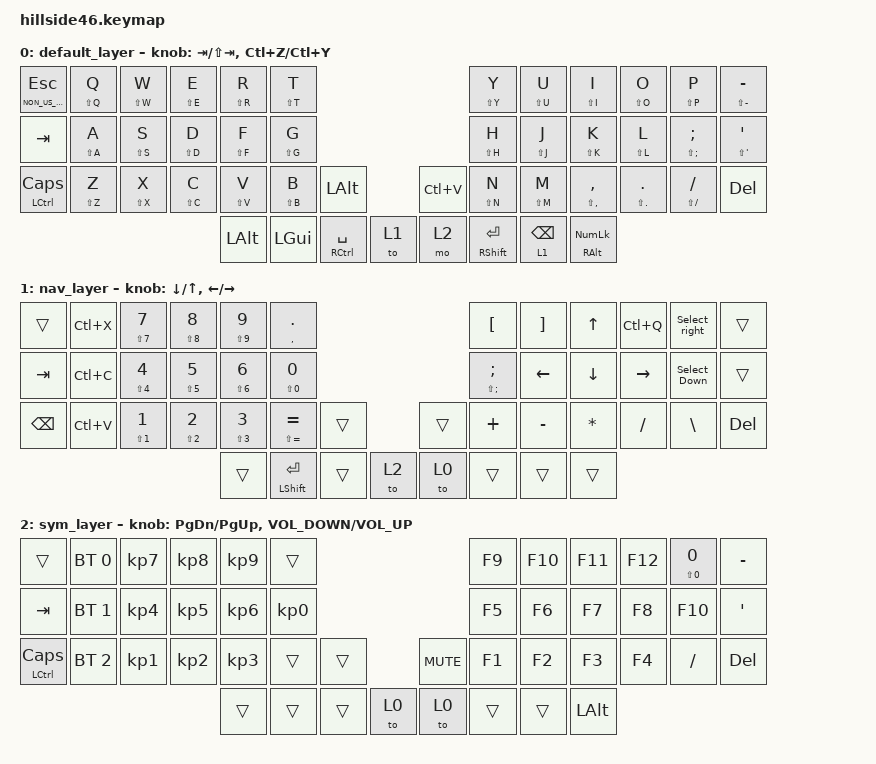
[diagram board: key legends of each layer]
/*
 * Copyright (c) 2021-2022 The ZMK Contributors
 * SPDX-License-Identifier: MIT
 */

#include <behaviors.dtsi>
#include <dt-bindings/zmk/bt.h>
#include <dt-bindings/zmk/keys.h>

#define QWERTY 0
#define NAV    1
#define SYM    2
#define COLE   3

/ {
    behaviors {
        /* * Auto-Shift Behavior 
         * Usage: &as LS(KEY) KEY
         * Tapping sends KEY. Holding (for 175ms) sends LS(KEY).
         */

        as: auto_shift {
            compatible = "zmk,behavior-hold-tap";
            label = "AUTO_SHIFT";
            #binding-cells = <2>;
            tapping-term-ms = <200>;
            quick-tap-ms = <0>;
            flavor = "tap-preferred";
            bindings = <&kp>, <&kp>;
        };

        /* Custom Layer Tap with Repeat for Backspace/Delete */

        lt_repeat: lt_repeat {
            compatible = "zmk,behavior-hold-tap";
            label = "LT_REPEAT";
            #binding-cells = <2>;
            tapping-term-ms = <200>;
            quick-tap-ms = <200>; // This is the key that enables the repeat
            flavor = "hold-preferred";
            bindings = <&mo>, <&kp>;
        };
    };

    macros {
        Select_right: Select_right {
            compatible = "zmk,behavior-macro";
            #binding-cells = <0>;
            bindings = <&kp LC(LS(RIGHT))>;
            label = "SELECT_RIGHT";
        };

        Select_Down: Select_Down {
            compatible = "zmk,behavior-macro";
            #binding-cells = <0>;
            bindings = <&kp LC(LS(DOWN))>;
            label = "SELECT_DOWN";
        };
    };

    combos {
        compatible = "zmk,combos";

        Plus {
            bindings = <&kp PLUS>;
            key-positions = <14 15>;
            layers = <1>;
        };

        Minus {
            bindings = <&kp MINUS>;
            key-positions = <15 16>;
            layers = <1>;
        };

        Multi {
            bindings = <&kp ASTRK>;
            key-positions = <26 27>;
            layers = <1>;
        };

        Divide {
            bindings = <&kp SLASH>;
            key-positions = <27 28>;
            layers = <1>;
        };

        Backsp {
            bindings = <&kp BACKSPACE>;
            key-positions = <3 4>;
            layers = <1>;
        };

        Properties {
            bindings = <&kp P>;
            key-positions = <4 5>;
            layers = <1>;
        };

        Normal_To {
            bindings = <&kp N>;
            key-positions = <16 17>;
            layers = <1>;
        };

        Measure {
            bindings = <&kp M>;
            key-positions = <28 29>;
            layers = <1>;
        };

        Delete {
            bindings = <&kp DELETE>;
            key-positions = <2 3>;
        };
    };

    keymap {
        compatible = "zmk,keymap";

        default_layer {
            /* Layer 0: QWERTY (Base)
             * Note: Inner bottom keys (Extra keys) set to Copy (Left) and Paste (Right)
             */

            bindings = <
&as NON_US_HASH ESC    &as LS(Q) Q  &as LS(W) W  &as LS(E) E  &as LS(R) R  &as LS(T) T                                                     &as LS(Y) Y        &as LS(U) U      &as LS(I) I          &as LS(O) O      &as LS(P) P         &as LS(MINUS) MINUS
&kp TAB                &as LS(A) A  &as LS(S) S  &as LS(D) D  &as LS(F) F  &as LS(G) G                                                     &as LS(H) H        &as LS(J) J      &as LS(K) K          &as LS(L) L      &as LS(SEMI) SEMI   &as LS(SQT) SQT
&mt LEFT_CONTROL CAPS  &as LS(Z) Z  &as LS(X) X  &as LS(C) C  &as LS(V) V  &as LS(B) B  &kp LALT                         &kp LC(V)         &as LS(N) N        &as LS(M) M      &as LS(COMMA) COMMA  &as LS(DOT) DOT  &as LS(FSLH) SLASH  &kp DEL
                                                              &kp LALT     &kp LGUI     &mt RCTRL SPACE  &to 1    &mo 2  &mt RSHIFT ENTER  &lt_repeat 1 BSPC  &mt RALT KP_NUM
            >;

            /* Left Encoder: Up/Down | Right Encoder: Left/Right */

            sensor-bindings =
                <&inc_dec_kp TAB LS(TAB)>,
                <&inc_dec_kp LC(Z) LC(Y)>;
        };

        nav_layer {
            /* Layer 1: Nav / Num */

            bindings = <
&trans         &kp LC(X)  &as LS(N7) N7  &as LS(N8) N8  &as LS(N9) N9  &as COMMA DOT                                        &kp LEFT_BRACKET   &kp RIGHT_BRACKET  &kp UP_ARROW  &kp LC(Q)  &Select_right  &trans
&kp TAB        &kp LC(C)  &as LS(N4) N4  &as LS(N5) N5  &as LS(N6) N6  &as LS(N0) N0                                        &as LS(SEMI) SEMI  &kp LEFT_ARROW     &kp DOWN      &kp RIGHT  &Select_Down   &trans
&kp BACKSPACE  &kp LC(V)  &as LS(N1) N1  &as LS(N2) N2  &as LS(N3) N3  &as LS(EQUAL) EQUAL  &trans                  &trans  &kp PLUS           &kp MINUS          &kp ASTRK     &kp FSLH   &kp BACKSLASH  &kp DEL
                                                        &trans         &mt LSHIFT ENTER            &trans  &to 2    &to 0  &trans  &trans             &trans
            >;

            sensor-bindings =
                <&inc_dec_kp DOWN_ARROW UP_ARROW>,
                <&inc_dec_kp LEFT RIGHT>;
        };

        sym_layer {
            /* Layer 2: Symbols / F-Keys */

            bindings = <
&trans          &bt BT_SEL 0  &kp KP_NUMBER_7  &kp KP_NUMBER_8  &kp KP_NUMBER_9  &trans                                               &kp F9  &kp F10       &kp F11  &kp F12  &as LS(N0) N0  &kp MINUS
&kp TAB         &bt BT_SEL 1  &kp KP_NUMBER_4  &kp KP_NUMBER_5  &kp KP_NUMBER_6  &kp KP_NUMBER_0                                      &kp F5  &kp F6        &kp F7   &kp F8   &kp F10        &kp SQT
&mt LCTRL CAPS  &bt BT_SEL 2  &kp KP_NUMBER_1  &kp KP_NUMBER_2  &kp KP_NUMBER_3  &trans           &trans                  &kp C_MUTE  &kp F1  &kp F2        &kp F3   &kp F4   &kp FSLH       &kp DEL
                                                                &trans           &trans           &trans  &to 0    &to 0  &trans      &trans  &kp LEFT_ALT
            >;

            sensor-bindings =
                <&inc_dec_kp PAGE_DOWN PAGE_UP>,
                <&inc_dec_kp C_VOLUME_DOWN C_VOLUME_UP>;
        };
    };
};
